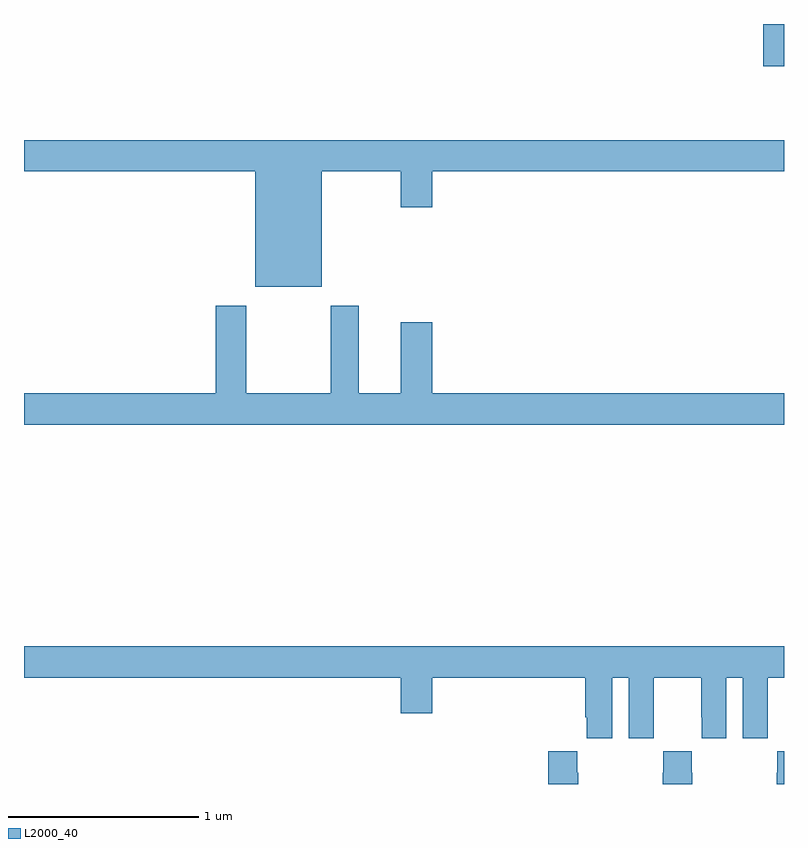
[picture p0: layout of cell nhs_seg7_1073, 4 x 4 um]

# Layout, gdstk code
import gdstk
lib = gdstk.Library(unit=1e-6, precision=1e-09)
def R(c, l, rs):  # rectangles x0, y0, x1, y1
    for r in rs: c.add(gdstk.rectangle(r[:2], r[2:], *l))
def P(c, l, *ps):  # polygons
    for p in ps: c.add(gdstk.Polygon(p, *l))
L2000_40 = (2000, 40)

nhs_seg7_1073 = lib.new_cell('nhs_seg7_1073')
R(nhs_seg7_1073, L2000_40, [(190.892,1059.777,191,1060)])
P(nhs_seg7_1073, L2000_40, [(188.566,1059.224),(188.984,1059.224),(188.984,1059.036),(189.148,1059.036),(189.148,1059.224),(191,1059.224),(191,1059.388),(187,1059.388),(187,1059.224),(188.216,1059.224),(188.216,1058.618),(188.566,1058.618)],
  [(191,1058.056),(189.148,1058.056),(189.148,1058.431),(188.984,1058.431),(188.984,1058.056),(188.761,1058.056),(188.761,1058.518),(188.614,1058.518),(188.614,1058.056),(188.169,1058.056),(188.169,1058.518),(188.009,1058.518),(188.009,1058.056),(187,1058.056),(187,1057.892),(191,1057.892)],
  [(190.096,1056.56),(190.184,1056.56),(190.184,1056.24),(190.314,1056.24),(190.314,1056.352),(190.315,1056.352),(190.315,1056.56),(190.565,1056.56),(190.565,1056.352),(190.566,1056.352),(190.566,1056.24),(190.696,1056.24),(190.696,1056.56),(190.784,1056.56),(190.784,1056.24),(190.914,1056.24),(190.914,1056.352),(190.915,1056.352),(190.915,1056.56),(191,1056.56),(191,1056.724),(187,1056.724),(187,1056.56),(188.984,1056.56),(188.984,1056.372),(189.148,1056.372),(189.148,1056.56),(189.953,1056.56),(189.953,1056.352),(189.962,1056.352),(189.962,1056.24),(190.096,1056.24)],
  [(189.918,1056.059),(189.911,1056.059),(189.911,1056.172),(189.758,1056.172),(189.758,1056),(189.918,1056)],
  [(190.518,1056.059),(190.515,1056.059),(190.515,1056.172),(190.365,1056.172),(190.365,1056.059),(190.363,1056.059),(190.363,1056),(190.518,1056)],
  [(191,1056.172),(190.965,1056.172),(190.965,1056.059),(190.963,1056.059),(190.963,1056),(191,1056)])

lib.write_gds('nhs_seg7_1073.gds')
